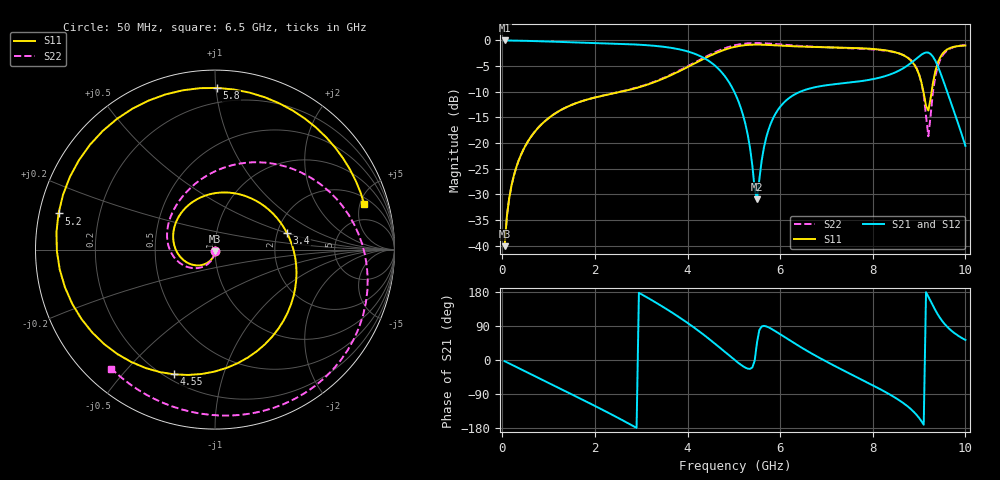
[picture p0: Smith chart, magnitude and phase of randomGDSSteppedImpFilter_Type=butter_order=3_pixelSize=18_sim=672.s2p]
! freq	dB(S11)	phase(S11)	dB(S12)	phase(S12)
!  dB(S21)	phase(S21)	dB(S22)	phase(S22)
!S-par simulation data
#  GHz  S  DB  R 50
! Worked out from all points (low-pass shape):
!   200 points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, 50 MHz to 10 GHz, reference 50 ohm
!   highest |S21| = -0.01 dB at 50 MHz (marker M1); lowest = -30.9 dB at 5.5 GHz (marker M2)
!   |S21| within 3 dB of the highest: start of sweep to 4.262 GHz; 9.016 GHz to 9.285 GHz (269.1 MHz wide, 2.94 % of centre)
!   lowest |S11| = -40.1 dB at 50 MHz (marker M3), VSWR 1.02, Z = 50 - j0.99 ohm
!   |S11| at or under -10 dB: start of sweep to 2.563 GHz; 9.094 GHz to 9.271 GHz (177.1 MHz wide, 1.93 % of centre)
!   |S22| runs from -40.1 to -0.5 dB; largest |S21 - S12| = 0
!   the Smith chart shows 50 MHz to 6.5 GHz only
!   S11 on the Smith chart (normalised r, x): 50 MHz: 1.00, -0.02; 3.4 GHz: 2.25, +0.51; 4.55 GHz: 0.23, -0.70; 5.2 GHz: 0.06, +0.11; 5.8 GHz: 0.11, +1.01; 6.5 GHz: 2.58, +5.44
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0.05  -40.07 -92.0  -0.01 -3.1  -0.01 -3.1  -40.06 -91.5
0.2  -28.22 -103.1  -0.03 -12.2  -0.03 -12.2  -28.21 -101.0
0.5  -20.51 -123.4  -0.08 -30.4  -0.08 -30.4  -20.50 -118.1
1.15  -14.17 -167.1  -0.26 -69.5  -0.26 -69.5  -14.17 -153.4
1.75  -11.74 151.0  -0.43 -105.8  -0.43 -105.8  -11.73 175.9
2.65  -9.82 80.6  -0.70 -162.5  -0.70 -162.5  -9.77 132.9
3.4  -7.72 13.3  -1.15 145.4  -1.15 145.4  -7.62 96.0
4  -5.19 -46.1  -2.13 97.9  -2.13 97.9  -5.03 59.8
4.55  -2.72 -108.0  -4.59 47.3  -4.59 47.3  -2.49 18.8
5.05  -1.19 -172.7  -10.79 -3.2  -10.79 -3.2  -0.89 -23.9
5.2  -0.96 167.0  -14.58 -16.7  -14.58 -16.7  -0.66 -36.9
5.5  -0.81 126.8  -30.94 45.8  -30.94 45.8  -0.51 -61.9
5.8  -0.91 89.2  -16.13 83.0  -16.13 83.0  -0.64 -84.7
6.5  -1.21 17.2  -9.75 29.9  -9.75 29.9  -1.12 -131.1
6.7  -1.26 0.5  -9.22 15.8  -9.22 15.8  -1.22 -143.6
7.5  -1.43 -53.5  -8.21 -35.8  -8.21 -35.8  -1.52 165.6
8.35  -2.04 -99.5  -6.71 -89.8  -6.71 -89.8  -2.09 105.0
8.95  -5.57 -137.1  -3.48 -145.4  -3.48 -145.4  -5.48 47.2
9.2  -13.66 -100.3  -2.38 167.4  -2.38 167.4  -18.66 74.2
9.45  -3.40 -85.4  -6.05 111.4  -6.05 111.4  -3.89 99.2
9.65  -1.55 -105.8  -11.12 82.5  -11.12 82.5  -1.69 71.5
10  -0.99 -129.2  -20.54 52.9  -20.54 52.9  -0.91 39.1
